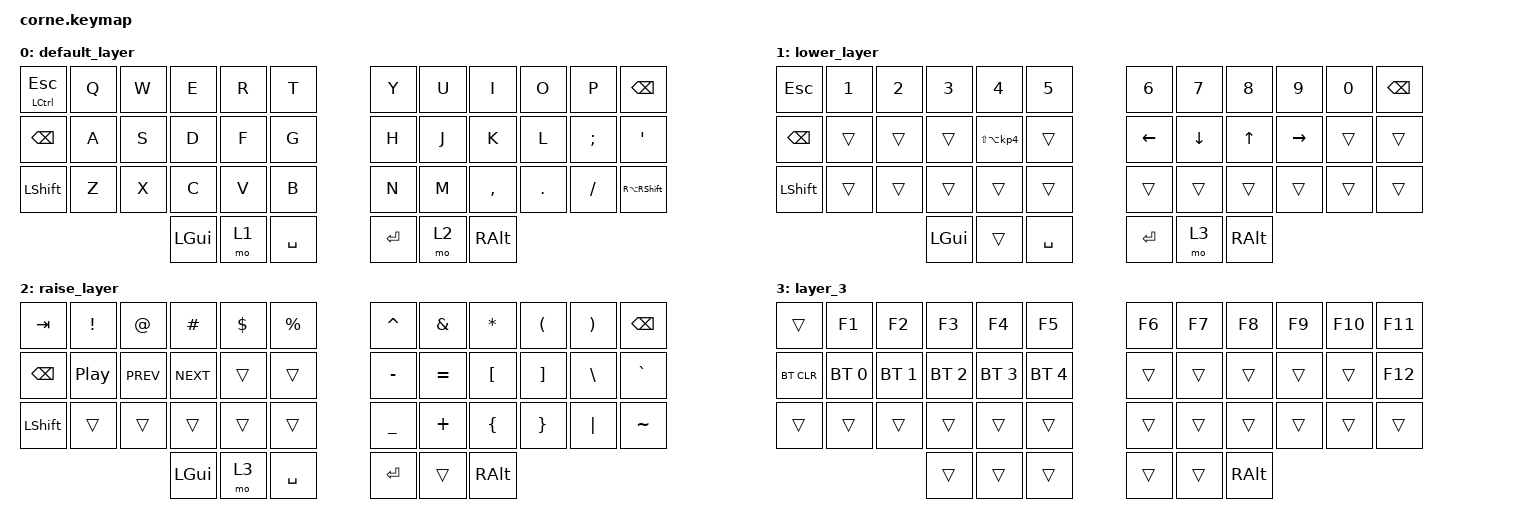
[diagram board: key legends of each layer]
/*
 * Copyright (c) 2020 The ZMK Contributors
 *
 * SPDX-License-Identifier: MIT
 */

#include <behaviors.dtsi>
#include <dt-bindings/zmk/bt.h>
#include <dt-bindings/zmk/keys.h>

/ {
    keymap {
        compatible = "zmk,keymap";

        default_layer {
            // -----------------------------------------------------------------------------------------
            // |  TAB |  Q  |  W  |  E  |  R  |  T  |   |  Y  |  U   |  I  |  O  |  P  | BSPC |
            // | CTRL |  A  |  S  |  D  |  F  |  G  |   |  H  |  J   |  K  |  L  |  ;  |  '   |
            // | SHFT |  Z  |  X  |  C  |  V  |  B  |   |  N  |  M   |  ,  |  .  |  /  | ESC  |
            //                    | GUI | LWR | SPC |   | ENT | RSE  | ALT |

            bindings = <
&mt LEFT_CONTROL ESCAPE  &kp Q  &kp W  &kp E     &kp R  &kp T        &kp Y    &kp U  &kp I      &kp O    &kp P     &kp BSPC
&kp BACKSPACE            &kp A  &kp S  &kp D     &kp F  &kp G        &kp H    &kp J  &kp K      &kp L    &kp SEMI  &kp SQT
&kp LSHFT                &kp Z  &kp X  &kp C     &kp V  &kp B        &kp N    &kp M  &kp COMMA  &kp DOT  &kp FSLH  &kp RA(RIGHT_SHIFT)
                                       &kp LGUI  &mo 1  &kp SPACE    &kp RET  &mo 2  &kp RALT
            >;
        };

        lower_layer {
            // -----------------------------------------------------------------------------------------
            // |  TAB |  1  |  2  |  3  |  4  |  5  |   |  6  |  7  |  8  |  9  |  0  | BSPC |
            // | BTCLR| BT1 | BT2 | BT3 | BT4 | BT5 |   | LFT | DWN |  UP | RGT |     |      |
            // | SHFT |     |     |     |     |     |   |     |     |     |     |     |      |
            //                    | GUI |     | SPC |   | ENT |     | ALT |

            bindings = <
&kp ESCAPE     &kp N1  &kp N2  &kp N3    &kp N4                   &kp N5       &kp N6    &kp N7    &kp N8    &kp N9     &kp N0  &kp BSPC
&kp BACKSPACE  &trans  &trans  &trans    &kp LS(LA(KP_NUMBER_4))  &trans       &kp LEFT  &kp DOWN  &kp UP    &kp RIGHT  &trans  &trans
&kp LSHFT      &trans  &trans  &trans    &trans                   &trans       &trans    &trans    &trans    &trans     &trans  &trans
                               &kp LGUI  &trans                   &kp SPACE    &kp RET   &mo 3     &kp RALT
            >;
        };

        raise_layer {
            // -----------------------------------------------------------------------------------------
            // |  TAB |  !  |  @  |  #  |  $  |  %  |   |  ^  |  &  |  *  |  (  |  )  | BSPC |
            // | CTRL |     |     |     |     |     |   |  -  |  =  |  [  |  ]  |  \  |  `   |
            // | SHFT |     |     |     |     |     |   |  _  |  +  |  {  |  }  | "|" |  ~   |
            //                    | GUI |     | SPC |   | ENT |     | ALT |

            bindings = <
&kp TAB        &kp EXCL          &kp AT      &kp HASH    &kp DLLR  &kp PRCNT    &kp CARET  &kp AMPS   &kp ASTRK  &kp LPAR  &kp RPAR  &kp BSPC
&kp BACKSPACE  &kp C_PLAY_PAUSE  &kp C_PREV  &kp C_NEXT  &trans    &trans       &kp MINUS  &kp EQUAL  &kp LBKT   &kp RBKT  &kp BSLH  &kp GRAVE
&kp LSHFT      &trans            &trans      &trans      &trans    &trans       &kp UNDER  &kp PLUS   &kp LBRC   &kp RBRC  &kp PIPE  &kp TILDE
                                             &kp LGUI    &mo 3     &kp SPACE    &kp RET    &trans     &kp RALT
            >;
        };

        layer_3 {
            bindings = <
&trans      &kp F1        &kp F2        &kp F3        &kp F4        &kp F5          &kp F6  &kp F7  &kp F8         &kp F9  &kp F10  &kp F11
&bt BT_CLR  &bt BT_SEL 0  &bt BT_SEL 1  &bt BT_SEL 2  &bt BT_SEL 3  &bt BT_SEL 4    &trans  &trans  &trans         &trans  &trans   &kp F12
&trans      &trans        &trans        &trans        &trans        &trans          &trans  &trans  &trans         &trans  &trans   &trans
                                        &trans        &trans        &trans          &trans  &trans  &kp RIGHT_ALT
            >;
        };
    };
};
